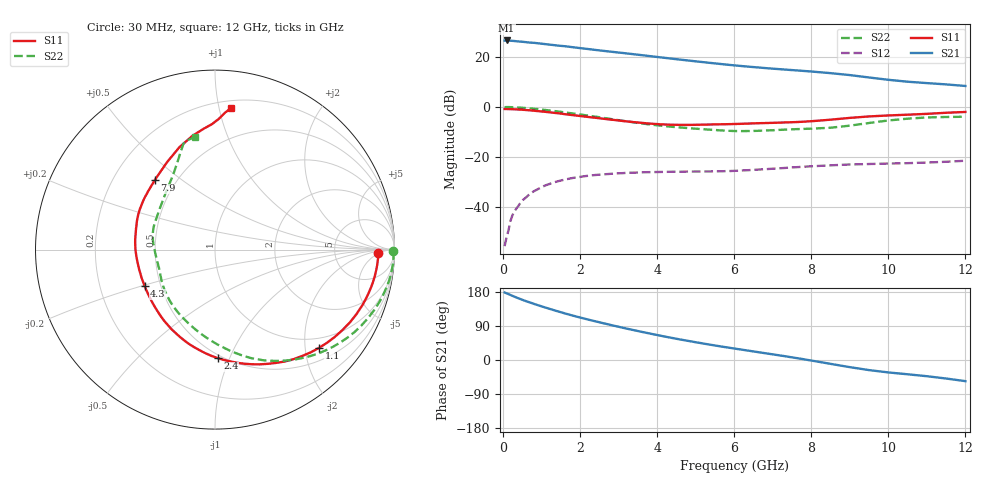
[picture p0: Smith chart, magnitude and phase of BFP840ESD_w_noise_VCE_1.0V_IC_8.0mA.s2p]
! Infineon Technologies  Discrete & RF Semiconductors
! BFP840ESD
! VCE =  1.0 V,  IC =  8.0 mA
! Common Emitter S-Parameters:  May 2012
# GHz  S  MA  R  50
!  f  S11  S21  S12  S22
! GHz  MAG  ANG  MAG  ANG  MAG  ANG  MAG  ANG
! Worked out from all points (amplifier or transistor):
!   93 points, 30 MHz to 12 GHz, reference 50 ohm
!   highest |S21| = 26.7 dB at 80 MHz (marker M1)
!   |S21| within 3 dB of that: start of sweep to 1.952 GHz
!   unconditionally stable (mu >= 1): 5.629 GHz to 10.48 GHz
!   at 1.1 GHz: K = 0.24, MSG = 28.3 dB, |S12| = -31.4 dB
!   at 4.2 GHz: K = 0.75, MSG = 22.9 dB, |S12| = -26.1 dB
!   at 12 GHz: K = 0.76, MSG = 15.0 dB, |S12| = -21.6 dB
!   lowest NFmin = 0.73 dB at 450 MHz
!   S11 on the Smith chart (normalised r, x): 30 MHz: 20, -5; 1.1 GHz: 0.76, -2.29; 2.4 GHz: 0.47, -0.90; 4.3 GHz: 0.41, -0.20; 7.9 GHz: 0.38, +0.40; 12 GHz: 0.25, +1.09
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0.03  0.9104 -1.2  21.53 178.2  0.0016 79.4  0.9901 -0.5
0.08  0.9095 -3.3  21.68 176.0  0.0024 96.7  0.9955 -2.5
0.28  0.8984 -11.7  21.14 167.3  0.0079 81.5  0.9853 -10.0
0.5  0.8782 -20.5  20.37 158.5  0.0134 74.5  0.9618 -17.6
0.8  0.8396 -32.3  19.41 147.8  0.0205 67.7  0.9192 -27.3
1.1  0.797 -43.5  18.25 138.1  0.0268 59.8  0.8688 -36.6
1.3  0.7658 -50.8  17.52 131.8  0.0304 55.2  0.8326 -42.5
1.6  0.717 -61.7  16.6 122.8  0.0348 49.3  0.7772 -50.9
2.1  0.6435 -78.7  14.89 109.3  0.0406 40.1  0.688 -64.1
2.4  0.6047 -88.6  13.96 101.8  0.0431 35.7  0.6372 -71.6
2.8  0.556 -102.0  12.88 92.1  0.0455 30.6  0.5716 -81.2
3.3  0.5045 -118.9  11.67 80.6  0.0478 25.3  0.5013 -93.8
3.7  0.4711 -132.3  10.75 72.0  0.049 21.8  0.4556 -104.4
4.1  0.4478 -146.0  9.883 63.7  0.0495 18.9  0.4196 -115.4
4.3  0.4416 -152.7  9.486 59.7  0.0498 17.6  0.4054 -120.8
5.2  0.442 -178.6  7.935 43.3  0.0507 13.9  0.3569 -142.8
6.1  0.457 163.4  6.735 28.7  0.0525 13.2  0.3285 -163.6
7.9  0.5124 130.9  5.225 0.2  0.0638 8.1  0.3652 158.5
8.5  0.5558 118.7  4.78 -10.2  0.0673 4.8  0.3831 143.5
9.5  0.6456 101.3  3.909 -26.7  0.0715 -1.7  0.477 119.3
10.5  0.6998 91.3  3.217 -37.7  0.0744 -6.7  0.5821 109.0
12  0.7947 83.4  2.641 -55.8  0.0832 -12.5  0.6371 100.3
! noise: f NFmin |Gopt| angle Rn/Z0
0.45  0.73  0.34  1  0.15
0.9  0.73  0.34  5  0.15
1.5  0.75  0.34  13  0.14
1.9  0.76  0.33  16  0.13
2.4  0.77  0.29  26  0.13
3.5  0.8  0.21  56  0.1
5.5  0.88  0.13  129  0.1
8  1.03  0.3  -134  0.09
10  1.19  0.47  -94  0.16
12  1.4  0.59  -73  0.27
